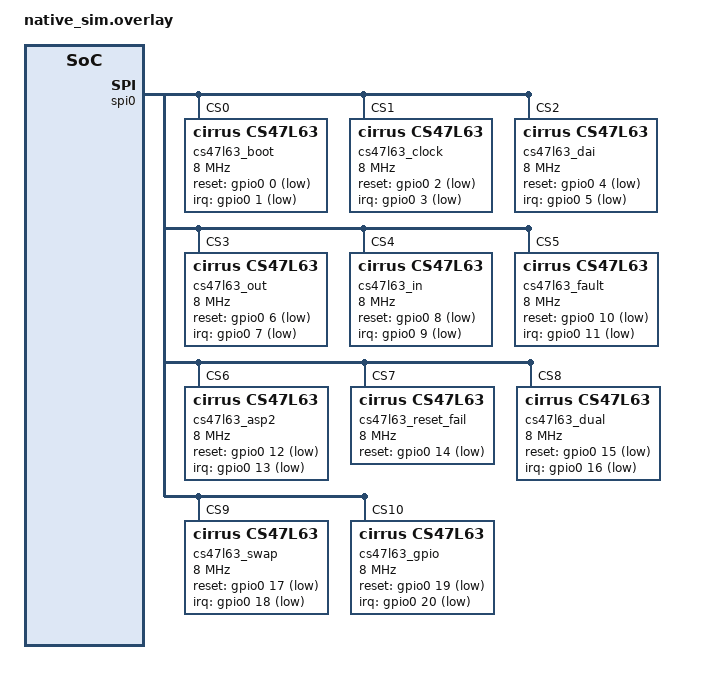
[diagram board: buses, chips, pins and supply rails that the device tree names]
/*
 * SPDX-FileCopyrightText: Copyright The Zephyr Project Contributors
 * SPDX-License-Identifier: Apache-2.0
 */

/* One codec per suite, so no case depends on state another suite left. */

&spi0 {
	status = "okay";

	cs47l63_boot: cs47l63@0 {
		compatible = "cirrus,cs47l63";
		reg = <0>;
		spi-max-frequency = <8000000>;
		reset-gpios = <&gpio0 0 GPIO_ACTIVE_LOW>;
		irq-gpios = <&gpio0 1 GPIO_ACTIVE_LOW>;
		status = "okay";
	};

	cs47l63_clock: cs47l63@1 {
		compatible = "cirrus,cs47l63";
		reg = <1>;
		spi-max-frequency = <8000000>;
		reset-gpios = <&gpio0 2 GPIO_ACTIVE_LOW>;
		irq-gpios = <&gpio0 3 GPIO_ACTIVE_LOW>;
		status = "okay";
	};

	cs47l63_dai: cs47l63@2 {
		compatible = "cirrus,cs47l63";
		reg = <2>;
		spi-max-frequency = <8000000>;
		reset-gpios = <&gpio0 4 GPIO_ACTIVE_LOW>;
		irq-gpios = <&gpio0 5 GPIO_ACTIVE_LOW>;
		status = "okay";
	};

	cs47l63_out: cs47l63@3 {
		compatible = "cirrus,cs47l63";
		reg = <3>;
		spi-max-frequency = <8000000>;
		reset-gpios = <&gpio0 6 GPIO_ACTIVE_LOW>;
		irq-gpios = <&gpio0 7 GPIO_ACTIVE_LOW>;
		status = "okay";
	};

	cs47l63_in: cs47l63@4 {
		compatible = "cirrus,cs47l63";
		reg = <4>;
		spi-max-frequency = <8000000>;
		reset-gpios = <&gpio0 8 GPIO_ACTIVE_LOW>;
		irq-gpios = <&gpio0 9 GPIO_ACTIVE_LOW>;
		status = "okay";
	};

	cs47l63_fault: cs47l63@5 {
		compatible = "cirrus,cs47l63";
		reg = <5>;
		spi-max-frequency = <8000000>;
		reset-gpios = <&gpio0 10 GPIO_ACTIVE_LOW>;
		irq-gpios = <&gpio0 11 GPIO_ACTIVE_LOW>;
		status = "okay";
	};

	/* The one instance on ASP2, for test_asp2.c. */
	cs47l63_asp2: cs47l63@6 {
		compatible = "cirrus,cs47l63";
		reg = <6>;
		spi-max-frequency = <8000000>;
		reset-gpios = <&gpio0 12 GPIO_ACTIVE_LOW>;
		irq-gpios = <&gpio0 13 GPIO_ACTIVE_LOW>;
		cirrus,asp = <2>;
		status = "okay";
	};

	/* No irq-gpios, and a reset line gpio_emul refuses to configure. */
	cs47l63_reset_fail: cs47l63@7 {
		compatible = "cirrus,cs47l63";
		reg = <7>;
		spi-max-frequency = <8000000>;
		reset-gpios = <&gpio0 14 (GPIO_ACTIVE_LOW | GPIO_OPEN_DRAIN)>;
		status = "okay";
	};

	/* Both serial ports of one part: the parent on ASP1, its child on ASP2. */
	cs47l63_dual: cs47l63@8 {
		compatible = "cirrus,cs47l63";
		reg = <8>;
		spi-max-frequency = <8000000>;
		reset-gpios = <&gpio0 15 GPIO_ACTIVE_LOW>;
		irq-gpios = <&gpio0 16 GPIO_ACTIVE_LOW>;
		status = "okay";

		cs47l63_dual_asp2: asp2 {
			cirrus,asp = <2>;
		};
	};

	/* The same pair with the ports swapped: the parent on ASP2. */
	cs47l63_swap: cs47l63@9 {
		compatible = "cirrus,cs47l63";
		reg = <9>;
		spi-max-frequency = <8000000>;
		reset-gpios = <&gpio0 17 GPIO_ACTIVE_LOW>;
		irq-gpios = <&gpio0 18 GPIO_ACTIVE_LOW>;
		cirrus,asp = <2>;
		status = "okay";

		cs47l63_swap_asp1: asp1 {
			cirrus,asp = <1>;
		};
	};

	/* ASP1 only, so the ASP2 pads GPIO5-8 are free for defaults. */
	cs47l63_gpio: cs47l63@a {
		compatible = "cirrus,cs47l63";
		reg = <10>;
		spi-max-frequency = <8000000>;
		reset-gpios = <&gpio0 19 GPIO_ACTIVE_LOW>;
		irq-gpios = <&gpio0 20 GPIO_ACTIVE_LOW>;
		cirrus,gpio-defaults = <0xffffffff 0xffffffff 0xffffffff 0xffffffff 0x61000001 0
					0xffffffff 0x00800000 0x00000800 0x410001fa>;
		status = "okay";
	};
};
